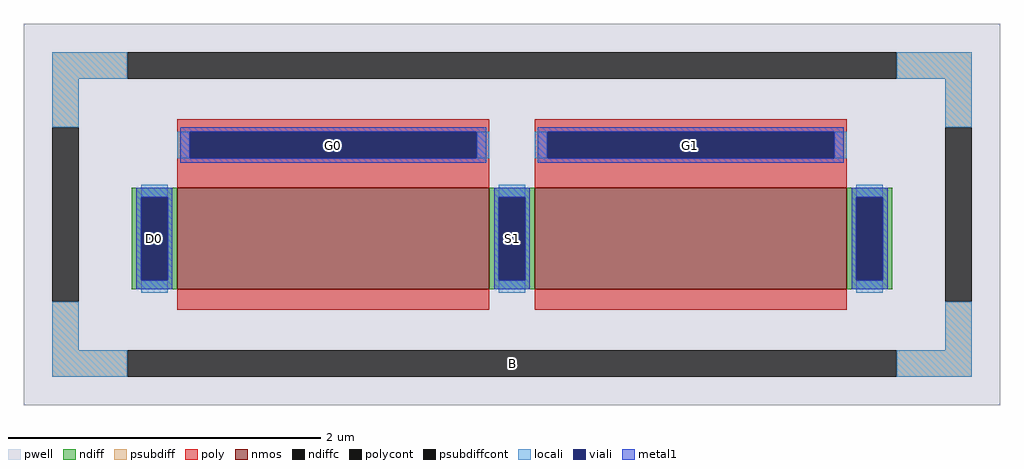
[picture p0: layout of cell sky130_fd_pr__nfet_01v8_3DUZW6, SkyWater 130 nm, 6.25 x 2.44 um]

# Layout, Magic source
magic
tech sky130A
magscale 1 2
<< pwell >>
rect -625 -244 625 244
<< nmos >>
rect -429 -96 -29 34
rect 29 -96 429 34
<< ndiff >>
rect -487 22 -429 34
rect -487 -84 -475 22
rect -441 -84 -429 22
rect -487 -96 -429 -84
rect -29 22 29 34
rect -29 -84 -17 22
rect 17 -84 29 22
rect -29 -96 29 -84
rect 429 22 487 34
rect 429 -84 441 22
rect 475 -84 487 22
rect 429 -96 487 -84
<< ndiffc >>
rect -475 -84 -441 22
rect -17 -84 17 22
rect 441 -84 475 22
<< psubdiff >>
rect -589 174 -493 208
rect 493 174 589 208
rect -589 112 -555 174
rect 555 112 589 174
rect -589 -174 -555 -112
rect 555 -174 589 -112
rect -589 -208 -493 -174
rect 493 -208 589 -174
<< psubdiffcont >>
rect -493 174 493 208
rect -589 -112 -555 112
rect 555 -112 589 112
rect -493 -208 493 -174
<< poly >>
rect -429 106 -29 122
rect -429 72 -413 106
rect -45 72 -29 106
rect -429 34 -29 72
rect 29 106 429 122
rect 29 72 45 106
rect 413 72 429 106
rect 29 34 429 72
rect -429 -122 -29 -96
rect 29 -122 429 -96
<< polycont >>
rect -413 72 -45 106
rect 45 72 413 106
<< locali >>
rect -589 174 -493 208
rect 493 174 589 208
rect -589 112 -555 174
rect 555 112 589 174
rect -429 72 -413 106
rect -45 72 -29 106
rect 29 72 45 106
rect 413 72 429 106
rect -475 22 -441 38
rect -475 -100 -441 -84
rect -17 22 17 38
rect -17 -100 17 -84
rect 441 22 475 38
rect 441 -100 475 -84
rect -589 -174 -555 -112
rect 555 -174 589 -112
rect -589 -208 -493 -174
rect 493 -208 589 -174
<< viali >>
rect -413 72 -45 106
rect 45 72 413 106
rect -475 -84 -441 22
rect -17 -84 17 22
rect 441 -84 475 22
<< metal1 >>
rect -425 106 -33 112
rect -425 72 -413 106
rect -45 72 -33 106
rect -425 66 -33 72
rect 33 106 425 112
rect 33 72 45 106
rect 413 72 425 106
rect 33 66 425 72
rect -481 22 -435 34
rect -481 -84 -475 22
rect -441 -84 -435 22
rect -481 -96 -435 -84
rect -23 22 23 34
rect -23 -84 -17 22
rect 17 -84 23 22
rect -23 -96 23 -84
rect 435 22 481 34
rect 435 -84 441 22
rect 475 -84 481 22
rect 435 -96 481 -84
<< labels >>
rlabel psubdiffcont 0 -191 0 -191 0 B
port 1 nsew
rlabel ndiffc -458 -31 -458 -31 0 D0
port 2 nsew
rlabel polycont -229 89 -229 89 0 G0
port 3 nsew
rlabel ndiffc 0 -31 0 -31 0 S1
port 4 nsew
rlabel polycont 229 89 229 89 0 G1
port 5 nsew
<< properties >>
string FIXED_BBOX -763 -191 572 191
string gencell sky130_fd_pr__nfet_01v8
string library sky130
string parameters w .65 l 2 m 1 nf 2 diffcov 100 polycov 100 guard 1 glc 1 grc 1 gtc 1 gbc 1 tbcov 100 rlcov 100 topc 1 botc 0 poverlap 0 doverlap 1 lmin 0.15 wmin 0.42 class mosfet compatible {sky130_fd_pr__nfet_01v8 sky130_fd_pr__nfet_01v8_lvt  sky130_fd_bs_flash__special_sonosfet_star  sky130_fd_pr__nfet_g5v0d10v5 sky130_fd_pr__nfet_05v0_nvt  sky130_fd_pr__nfet_03v3_nvt} full_metal 1 conn_gates 0 viasrc 100 viadrn 100 viagate 100 viagb 0 viagr 0 viagl 0 viagt 0 doports 1
<< end >>
